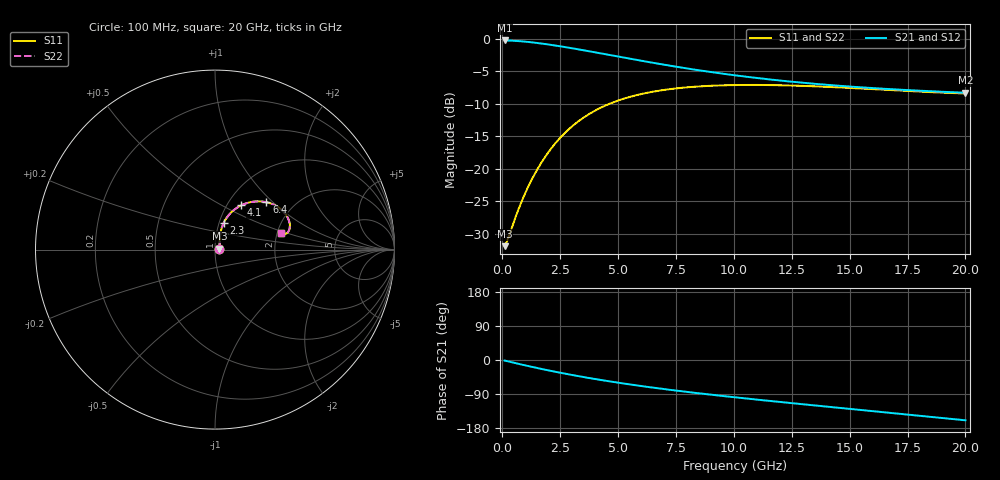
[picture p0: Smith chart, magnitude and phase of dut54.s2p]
! Touchstone file exported from HFSS 2024.1.0
!  File:  C:/UserFiles/LocalFiles/RDL_TSV_Batchsim/temp_RDL_TSV_54_1779407596.aedt
!  Generated:  08:08:19 AM May 22, 2026
!  Design:  RDL_TSV
!  Project:  temp_RDL_TSV_54_1779407596
!  Setup:  Setup1
!  Solution:  Sweep
! Variables:
!  dtsv = 8.76um
!  hbump = 3um
!  htsv = 64.74um
!  ldown = 357.78um
!  lrdl = 276um
!  p = 40
!  p1 = 54.56um
!  rhole = 10um
!  subl = 2177.34um
!  t = 450um
!  tdown = 2.24um
!  trdl = 3.26um
!  viad = 10um
!  wdown = 11.01um
!  wrdl = 12.72um
!  xbump = 18um
# GHz S MA R 50.000000
! Terminal data exported
! Port[1] = TM1_1_T1
! Port[2] = TM1_4_T1
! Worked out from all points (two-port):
!   200 points, 100 MHz to 20 GHz, reference 50 ohm
!   highest |S21| = -0.22 dB at 100 MHz (marker M1); lowest = -8.3 dB at 20 GHz (marker M2)
!   |S21| within 3 dB of the highest: start of sweep to 5.805 GHz
!   lowest |S11| = -31.9 dB at 100 MHz (marker M3), VSWR 1.05, Z = 52.5 + j0.629 ohm
!   |S11| at or under -10 dB: start of sweep to 4.617 GHz
!   |S22| runs from -31.9 to -7.1 dB; largest |S21 - S12| = 7.5e-15
!   S11 on the Smith chart (normalised r, x): 100 MHz: 1.05, +0.01; 2.3 GHz: 1.05, +0.32; 4.1 GHz: 1.16, +0.62; 6.4 GHz: 1.47, +0.91; 20 GHz: 2.11, +0.46
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0.1  0.02537 13.7  0.9751 -1.5  0.9751 -1.5  0.02537 13.7
! Gamma 0 0 0 0
! Port Impedance 50 0 50 0
0.2  0.02753 25.7  0.9743 -2.9  0.9743 -2.9  0.02753 25.7
0.6  0.04379 54.0  0.9669 -8.7  0.9669 -8.7  0.04379 54.0
0.8  0.05416 61.1  0.9611 -11.6  0.9611 -11.6  0.05416 61.0
1.2  0.07798 69.1  0.9464 -17.1  0.9464 -17.1  0.07798 69.0
1.7  0.1125 72.6  0.9232 -23.7  0.9232 -23.7  0.1125 72.6
2  0.135 72.7  0.9074 -27.5  0.9074 -27.5  0.1349 72.7
2.3  0.158 71.9  0.8908 -31.2  0.8908 -31.2  0.158 71.9
2.9  0.2041 68.6  0.8559 -38.3  0.8559 -38.3  0.204 68.5
3.5  0.2475 64.2  0.8201 -44.9  0.8201 -44.9  0.2474 64.1
4.1  0.2866 59.4  0.7845 -51.2  0.7845 -51.2  0.2864 59.3
5.2  0.345 50.9  0.7222 -61.7  0.7222 -61.7  0.3447 50.8
6.4  0.3897 42.6  0.6611 -72.0  0.6611 -72.0  0.3893 42.6
6.8  0.4008 40.2  0.6425 -75.3  0.6425 -75.3  0.4004 40.1
8.4  0.4303 31.7  0.5778 -87.2  0.5778 -87.2  0.4297 31.6
10.1  0.4423 24.7  0.524 -98.8  0.524 -98.8  0.4416 24.6
11.7  0.4416 19.7  0.4851 -108.9  0.4851 -108.9  0.4408 19.7
13.4  0.4329 16.0  0.4534 -119.3  0.4534 -119.3  0.432 15.9
15  0.4203 13.7  0.4305 -128.9  0.4305 -128.9  0.4193 13.6
16.7  0.405 12.5  0.4117 -139.1  0.4117 -139.1  0.4039 12.5
18.4  0.3907 12.7  0.3969 -149.3  0.3969 -149.3  0.3895 12.7
20  0.3809 14.1  0.3855 -159.2  0.3855 -159.2  0.3797 14.1
